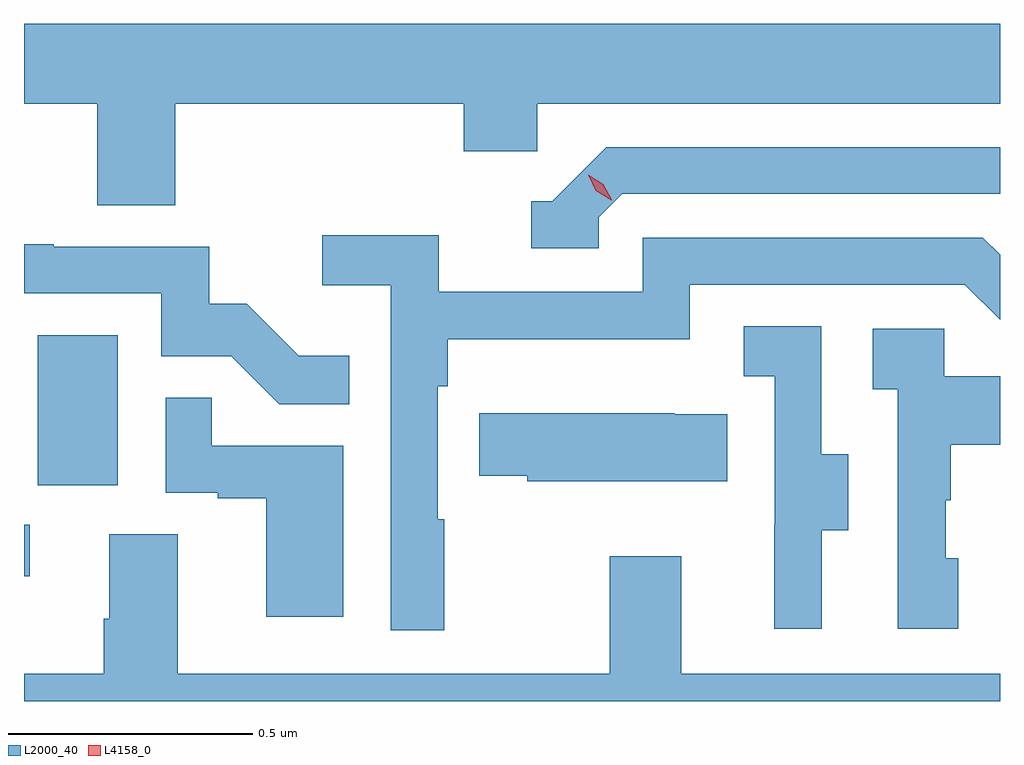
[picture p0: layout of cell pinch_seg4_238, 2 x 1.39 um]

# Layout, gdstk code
import gdstk
lib = gdstk.Library(unit=1e-6, precision=1e-09)
def R(c, l, rs):  # rectangles x0, y0, x1, y1
    for r in rs: c.add(gdstk.rectangle(r[:2], r[2:], *l))
def P(c, l, *ps):  # polygons
    for p in ps: c.add(gdstk.Polygon(p, *l))
L2000_40 = (2000, 40)
L4158_0 = (4158, 0)

pinch_seg4_238 = lib.new_cell('pinch_seg4_238')
R(pinch_seg4_238, L2000_40, [(896.782,822.492,896.794,822.597), (896.81,822.678,896.974,822.985)])
P(pinch_seg4_238, L2000_40, [(897.092,823.46),(897.683,823.46),(897.683,823.362),(897.834,823.362),(897.834,823.46),(898.782,823.46),(898.782,823.624),(896.782,823.624),(896.782,823.46),(896.932,823.46),(896.932,823.252),(897.092,823.252)],
  [(897.96,823.227),(898.008,823.275),(898.782,823.275),(898.782,823.371),(897.975,823.371),(897.864,823.26),(897.821,823.26),(897.821,823.164),(897.96,823.164)],
  [(897.643,822.608),(897.63,822.608),(897.63,822.881),(897.65,822.881),(897.65,822.977),(898.146,822.977),(898.146,823.089),(898.71,823.089),(898.782,823.017),(898.782,823.15),(898.747,823.185),(898.05,823.185),(898.05,823.074),(897.632,823.074),(897.632,823.19),(897.393,823.19),(897.393,823.088),(897.534,823.088),(897.534,822.381),(897.643,822.381)],
  [(897.449,822.943),(897.345,822.943),(897.238,823.05),(897.162,823.05),(897.162,823.167),(896.843,823.167),(896.843,823.172),(896.782,823.172),(896.782,823.071),(897.063,823.071),(897.063,822.942),(897.207,822.942),(897.305,822.844),(897.449,822.844)],
  [(898.417,822.586),(898.471,822.586),(898.471,822.741),(898.416,822.741),(898.416,823.004),(898.257,823.004),(898.257,822.901),(898.32,822.901),(898.32,822.597),(898.319,822.597),(898.319,822.384),(898.417,822.384)],
  [(898.696,822.528),(898.671,822.528),(898.671,822.647),(898.681,822.647),(898.681,822.761),(898.782,822.761),(898.782,822.901),(898.668,822.901),(898.668,822.999),(898.521,822.999),(898.521,822.875),(898.572,822.875),(898.572,822.384),(898.696,822.384)],
  [(897.436,822.759),(897.167,822.759),(897.167,822.857),(897.072,822.857),(897.072,822.663),(897.179,822.663),(897.179,822.651),(897.278,822.651),(897.278,822.408),(897.436,822.408)],
  [(898.223,822.823),(898.115,822.823),(898.115,822.826),(897.715,822.826),(897.715,822.697),(897.813,822.697),(897.813,822.686),(898.223,822.686)],
  [(898.782,822.292),(898.129,822.292),(898.129,822.532),(897.982,822.532),(897.982,822.292),(897.097,822.292),(897.097,822.578),(896.957,822.578),(896.957,822.404),(896.945,822.404),(896.945,822.292),(896.782,822.292),(896.782,822.235),(898.782,822.235)])
P(pinch_seg4_238, L4158_0, [(897.985,823.262),(897.954,823.281),(897.938,823.314),(897.938,823.314),(897.938,823.314),(897.969,823.295),(897.986,823.263),(897.986,823.262)])

lib.write_gds('pinch_seg4_238.gds')
